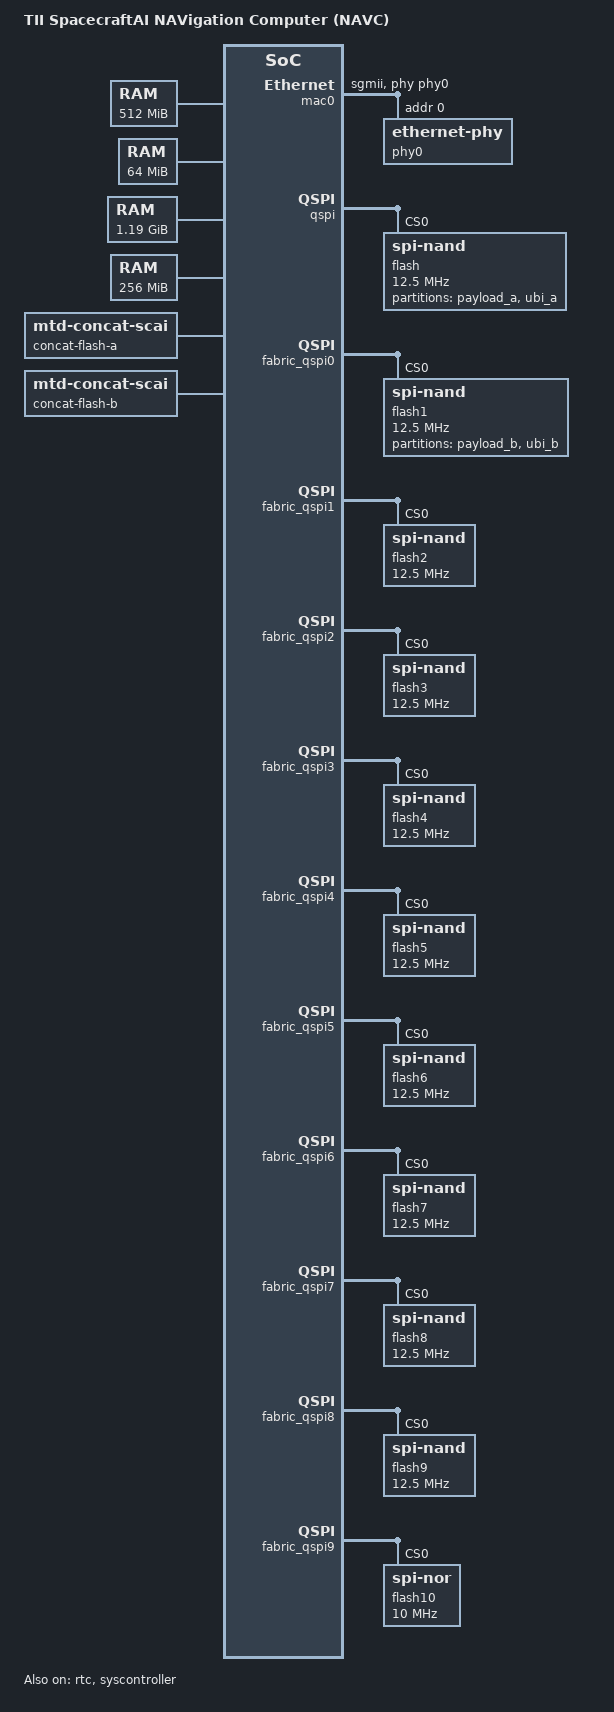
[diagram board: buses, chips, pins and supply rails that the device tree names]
// SPDX-License-Identifier: (GPL-2.0 OR MIT)
/* Copyright (c) 2020-2021 Microchip Technology Inc */

/dts-v1/;

#include "mpfs.dtsi"
#include "scai-navc-fabric.dtsi"
#include <dt-bindings/gpio/gpio.h>
#include <dt-bindings/leds/common.h>

/* Clock frequency (in Hz) of the rtcclk */
#define RTCCLK_FREQ		1000000

/ {
	#address-cells = <2>;
	#size-cells = <2>;
	model = "TII SpacecraftAI NAVigation Computer (NAVC)";
	compatible = "microchip,mpfs-icicle-reference-rtlv2210", "microchip,mpfs-icicle-kit",
		     "microchip,mpfs";

	soc {
		dma-ranges;
	};

	aliases {
		ethernet0 = &mac0;
		serial0 = &mmuart0;
		serial1 = &mmuart1;
		serial2 = &mmuart2;
	};

	chosen {
		stdout-path = "serial1:1500000n8";
	};

	cpus {
		timebase-frequency = <RTCCLK_FREQ>;
	};

	ddr_cached_low: memory@80000000 {
		device_type = "memory";
		reg = <0x0 0x80000000 0x0 0x20000000>;
	};

	ddr_non_cached_low: memory@c0000000 {
		device_type = "memory";
		reg = <0x0 0xc0000000 0x0 0x04000000>;
	};

	ddr_cached_high: memory@1000000000 {
		device_type = "memory";
		reg = <0x10 0x00000000 0x0 0x4c000000>;
	};

	ddr_non_cached_high: memory@1400000000 {
		device_type = "memory";
		reg = <0x14 0x00000000 0x0 0x10000000>;
	};

	reserved-memory {
		#address-cells = <2>;
		#size-cells = <2>;
		ranges;

		dma_non_cached_low: non-cached-low-buffer {
			compatible = "shared-dma-pool";
			size = <0x0 0x4000000>;
			no-map;
			alloc-ranges = <0x0 0xc0000000 0x0 0x04000000>;
		};

		dma_non_cached_high: non-cached-high-buffer {
			compatible = "shared-dma-pool";
			size = <0x0 0x10000000>;
			no-map;
			linux,dma-default;
			alloc-ranges = <0x14 0x00000000 0x0 0x10000000>;
		};

    /*
		fabricbuf0ddrc: buffer@88000000 {
			compatible = "shared-dma-pool";
			reg = <0x0 0x88000000 0x0 0x2000000>;
			no-map;
		};

		fabricbuf1ddrnc: buffer@c8000000 {
			compatible = "shared-dma-pool";
			reg = <0x0 0xc8000000 0x0 0x2000000>;
			no-map;
		};

		fabricbuf2ddrncwcb: buffer@d8000000 {
			compatible = "shared-dma-pool";
			reg = <0x0 0xd8000000 0x0 0x2000000>;
			no-map;
		};
    */
	};

  /*
	udmabuf0 {
		compatible = "ikwzm,u-dma-buf";
		device-name = "udmabuf-ddr-c0";
		minor-number = <0>;
		size = <0x0 0x2000000>;
		memory-region = <&fabricbuf0ddrc>;
		sync-mode = <3>;
	};

	udmabuf1 {
		compatible = "ikwzm,u-dma-buf";
		device-name = "udmabuf-ddr-nc0";
		minor-number = <1>;
		size = <0x0 0x2000000>;
		memory-region = <&fabricbuf1ddrnc>;
		sync-mode = <3>;
	};

	udmabuf2 {
		compatible = "ikwzm,u-dma-buf";
		device-name = "udmabuf-ddr-nc-wcb0";
		minor-number = <2>;
		size = <0x0 0x2000000>;
		memory-region = <&fabricbuf2ddrncwcb>;
		sync-mode = <3>;
	};
  */

	/* Create a concatenated device */
	concat-flash-a {
		status = "okay";
		compatible = "mtd-concat-scai";
		num-subdev = <4>;
		subdevices = <&flash2 &flash3 &flash4 &flash5>;
		device-name = "scai_mtd_a";
	};
	/* Create a concatenated device */
	concat-flash-b {
		status = "okay";
		compatible = "mtd-concat-scai";
		num-subdev = <4>;
		subdevices = <&flash6 &flash7 &flash8 &flash9>;
		device-name = "scai_mtd_b";
	};

};

/*
 * The label can0 represents CAN_0 in the MSS configurator which is CAN2
 * in the icicle kit schematic and on the icicle kit the can0 pins are
 * routed to J27 header.
 * The label can1 represents CAN_1 in the MSS configurator which is CAN1
 * in the icicle kit schematic and on the icicle kit the can1 pins are
 * routed to J25 header.
 */
/*
&can0 {
	status = "disabled";
};
*/

/*
&can1 {
	status = "disabled";
};
*/

/*
&core_pwm0 {
	status = "disabled";
};
*/

/*
&fpgadma {
	status = "disabled";
};
*/

/*
&fpgalsram {
	status = "disabled";
};
*/

/*
&gpio2 {
	status = "disabled";
};
*/

/*
&i2c0 {
	status = "disabled";
};
*/

/*
&i2c1 {
	status = "disabled";

	power-monitor@10 {
		compatible = "microchip,pac1934";
		reg = <0x10>;

		#address-cells = <1>;
		#size-cells = <0>;

		channel@1 {
			reg = <0x1>;
			shunt-resistor-micro-ohms = <10000>;
			label = "VDDREG";
		};

		channel@2 {
			reg = <0x2>;
			shunt-resistor-micro-ohms = <10000>;
			label = "VDDA25";
		};

		channel@3 {
			reg = <0x3>;
			shunt-resistor-micro-ohms = <10000>;
			label = "VDD25";
		};

		channel@4 {
			reg = <0x4>;
			shunt-resistor-micro-ohms = <10000>;
			label = "VDDA_REG";
		};
	};
};
*/

/*
&i2c2 {
	status = "disabled";
};
*/

&mac0 {
	dma-noncoherent;
	status = "okay";
	phy-mode = "sgmii";
	phy-handle = <&phy0>;

	phy0: ethernet-phy@0 {
		reg = <0>;
	};
};

/*
&mac1 {
	dma-noncoherent;
	status = "disabled";
	phy-mode = "sgmii";
	phy-handle = <&phy9>;

	phy9: ethernet-phy@9 {
		reg = <9>;
	};

	phy8: ethernet-phy@8 {
		reg = <8>;
	};
};
*/


&mbox {
	status = "okay";
};

/*
&mmc {
	dma-noncoherent;
	bus-width = <4>;
	disable-wp;
	cap-sd-highspeed;
	cap-mmc-highspeed;
	mmc-ddr-1_8v;
	mmc-hs200-1_8v;
	sd-uhs-sdr12;
	sd-uhs-sdr25;
	sd-uhs-sdr50;
	sd-uhs-sdr104;
	status = "disabled";
};
*/

&mmuart0 {
	status = "okay";
	current-speed = <1500000>;
};

&mmuart1 {
	status = "okay";
	current-speed = <1500000>;
};

&mmuart2 {
	status = "okay";
	current-speed = <1500000>;
};

/*
&mmuart3 {
	status = "disabled";
};
*/

/*
&mmuart4 {
	status = "disabled";
};
*/

/*
&pcie {
	status = "disabled";
};
*/

&refclk {
	clock-frequency = <100000000>;
};

/*
&refclk_ccc {
	clock-frequency = <50000000>;
};
*/

&rtc {
	status = "okay";
};

/*
&spi0 {
	status = "disabled";
};
*/

/*
&spi1 {
	status = "disabled";
};
*/

&syscontroller {
	status = "okay";
};

//&syscontroller_qspi {
	/*
	 * The flash *is* there, but Icicle kits that have engineering sample
	 * silicon where access to this flash to non-functional. The system
	 * controller itself can actually access it, but the MSS cannot write
	 * an image there. Instantiating a coreQSPI in the fabric & connecting
	 * it to the flash instead should work though. Pre-production or later
	 * silicon does not have this issue.
	 */
//	status = "disabled";

//	sys_ctrl_flash: flash@0 { // MT25QL01GBBB8ESF-0SIT
//		compatible = "jedec,spi-nor";
//		#address-cells = <1>;
//		#size-cells = <1>;
//		spi-max-frequency = <20000000>;
//		spi-rx-bus-width = <1>;
//		reg = <0>;
//	};
//};

/*
&usb {
	dma-noncoherent;
	status = "disabled";
	dr_mode = "otg";
};
*/

&qspi {
	status = "okay";
  flash@0 {
    compatible = "spi-nand";
    reg = <0>;
    spi-max-frequency = <12500000>;
    spi-tx-bus-width = <4>;
    spi-rx-bus-width = <4>;

    partitions {
      compatible = "fixed-partitions";
      #address-cells = <1>;
      #size-cells = <1>;

      partition@0 {
        label = "payload_a";
        reg = <0 0x00200000>;
      };
      partition@200000 {
        label = "ubi_a";
        reg = <0x00200000 0x07700000>;
      };
    };
  };
};

&fabric_qspi0 {
	status = "okay";
	num-cs = <1>;

	flash1: flash@1 {
		compatible = "spi-nand";
		reg = <0x0>;
		spi-tx-bus-width = <4>;
		spi-rx-bus-width = <4>;
		spi-max-frequency = <12500000>;

		partitions {
			compatible = "fixed-partitions";
			#address-cells = <1>;
			#size-cells = <1>;

			partition@0 {
				label = "payload_b";
				reg = <0 0x00200000>;
			};
			partition@200000 {
				label = "ubi_b";
				reg = <0x00200000 0x07700000>;
			};
		};
	};
};

&fabric_qspi1 {
	status = "okay";
	num-cs = <1>;

	flash2: flash@2 {
		compatible = "spi-nand";
		reg = <0x0>;
		spi-tx-bus-width = <4>;
		spi-rx-bus-width = <4>;
		spi-max-frequency = <12500000>;
	};
};

&fabric_qspi2 {
	status = "okay";
	num-cs = <1>;

	flash3: flash@3 {
		compatible = "spi-nand";
		reg = <0x0>;
		spi-tx-bus-width = <4>;
		spi-rx-bus-width = <4>;
		spi-max-frequency = <12500000>;
	};
};

&fabric_qspi3 {
	status = "okay";
	num-cs = <1>;

	flash4: flash@4 {
		compatible = "spi-nand";
		reg = <0x0>;
		spi-tx-bus-width = <4>;
		spi-rx-bus-width = <4>;
		spi-max-frequency = <12500000>;
	};
};

&fabric_qspi4 {
	status = "okay";
	num-cs = <1>;

	flash5: flash@5 {
		compatible = "spi-nand";
		reg = <0x0>;
		spi-tx-bus-width = <4>;
		spi-rx-bus-width = <4>;
		spi-max-frequency = <12500000>;
	};
};

&fabric_qspi5 {
	status = "okay";
	num-cs = <1>;

	flash6: flash@6 {
		compatible = "spi-nand";
		reg = <0x0>;
		spi-tx-bus-width = <4>;
		spi-rx-bus-width = <4>;
		spi-max-frequency = <12500000>;
	};
};

&fabric_qspi6 {
	status = "okay";
	num-cs = <1>;

	flash7: flash@7 {
		compatible = "spi-nand";
		reg = <0x0>;
		spi-tx-bus-width = <4>;
		spi-rx-bus-width = <4>;
		spi-max-frequency = <12500000>;
	};
};

&fabric_qspi7 {
	status = "okay";
	num-cs = <1>;

	flash8: flash@8 {
		compatible = "spi-nand";
		reg = <0x0>;
		spi-tx-bus-width = <4>;
		spi-rx-bus-width = <4>;
		spi-max-frequency = <12500000>;
	};
};

&fabric_qspi8 {
	status = "okay";
	num-cs = <1>;

	flash9: flash@9 {
		compatible = "spi-nand";
		reg = <0x0>;
		spi-tx-bus-width = <4>;
		spi-rx-bus-width = <4>;
		spi-max-frequency = <12500000>;
	};
};

&fabric_qspi9 {
	status = "okay";
	num-cs = <1>;

	flash10: flash@10 {
		compatible = "jedec,spi-nor";
		reg = <0x0>;
		spi-tx-bus-width = <4>;
		spi-rx-bus-width = <4>;
		spi-max-frequency = <10000000>;
	};
};

